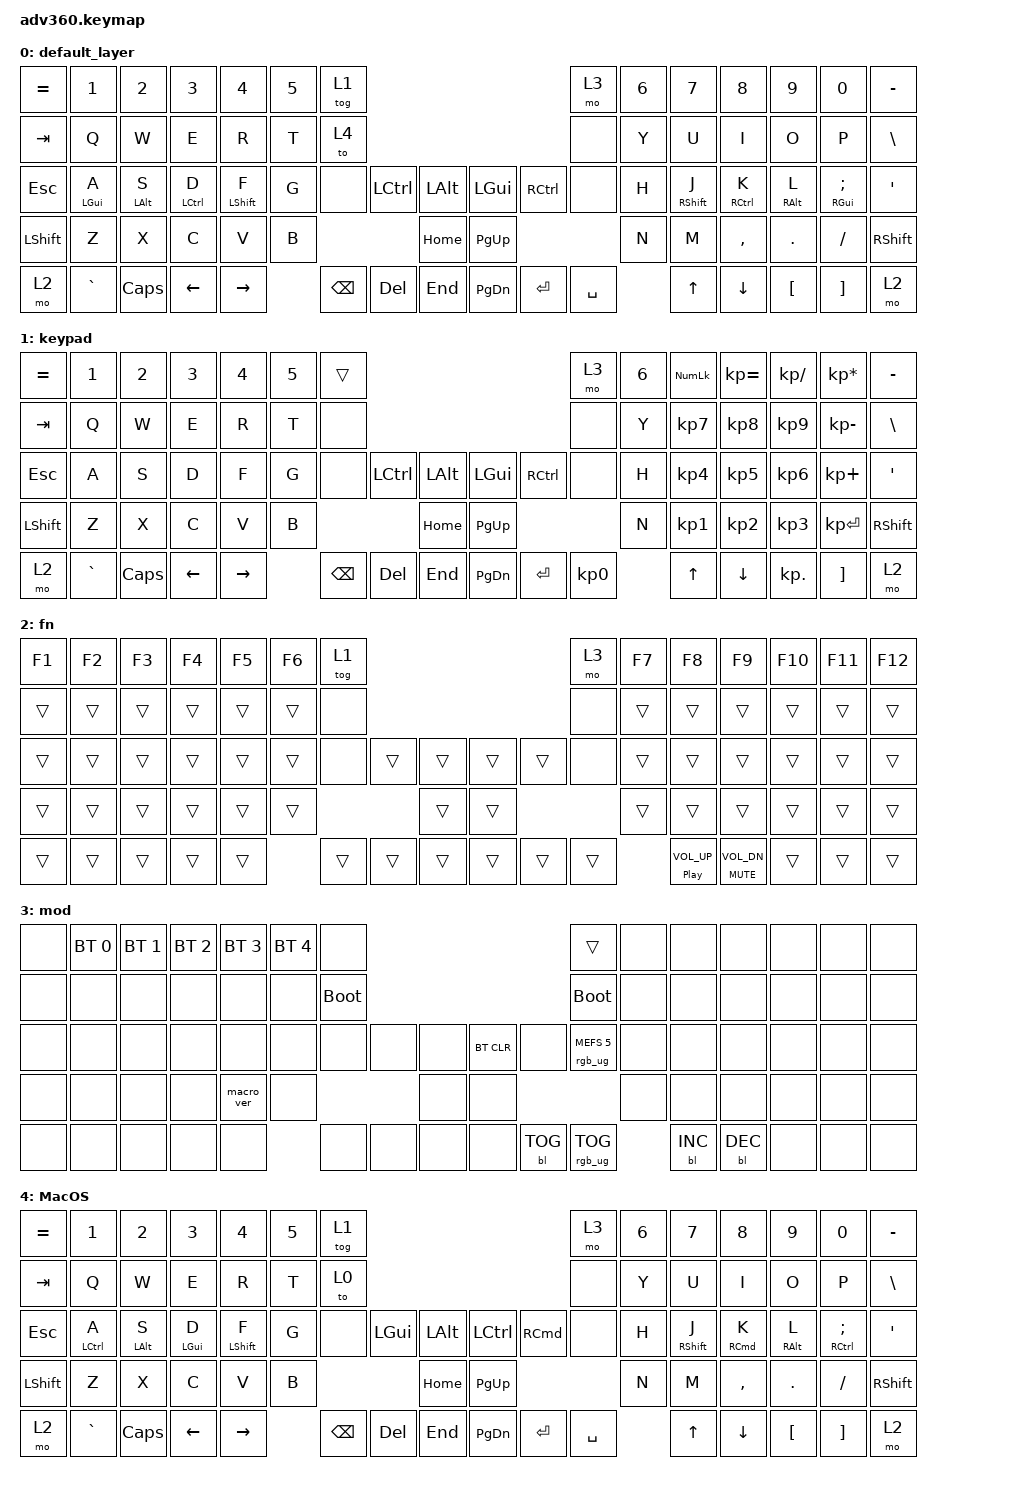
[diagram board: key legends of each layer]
#include <behaviors.dtsi>
#include <dt-bindings/zmk/backlight.h>
#include <dt-bindings/zmk/bt.h>
#include <dt-bindings/zmk/keys.h>
#include <dt-bindings/zmk/rgb.h>

/ {
    behaviors {
        #include "macros.dtsi"
      #include "version.dtsi"
      #ifndef VERSION_MACRO

        macro_ver: macro_ver {
            compatible = "zmk,behavior-macro";
            label = "macro_version";
            #binding-cells = <0>;
            bindings = <&kp RET>;
        };

        #endif

        hm: homerow_mods {
            compatible = "zmk,behavior-hold-tap";
            label = "HOMEROW_MODS";
            #binding-cells = <2>;
            tapping-term-ms = <200>;
            quick_tap_ms = <175>;
            flavor = "tap-unless-interrupted";
            bindings = <&kp>, <&kp>;
        };

        hm_right: hm_right {
            compatible = "zmk,behavior-hold-tap";
            label = "HM_RIGHT";
            #binding-cells = <2>;
            tapping-term-ms = <200>;
            flavor = "tap-preferred";
            bindings = <&kp>, <&kp>;

            hold-trigger-key-positions = <0 1 2 3 4 5 6 14 15 16 17 18 19 20 28 29 30 31 32 33 34 35 36 46 47 48 49 50 51 52 60 61 62 63 64 65 66 67>;
            quick-tap-ms = <200>;
            require-prior-idle-ms = <170>;
        };

        hm_left: hm_left {
            compatible = "zmk,behavior-hold-tap";
            label = "HM_LEFT";
            #binding-cells = <2>;
            tapping-term-ms = <200>;
            flavor = "tap-preferred";
            bindings = <&kp>, <&kp>;

            hold-trigger-key-positions = <7 8 9 10 11 12 13 21 22 23 24 25 26 27 37 38 39 40 41 42 43 44 45 53 54 55 56 57 58 59 68 69 70 71 72 73 74 75>;
            quick-tap-ms = <200>;
            require-prior-idle-ms = <170>;
        };
    };

    macros {
    };

    keymap {
        compatible = "zmk,keymap";

        default_layer {
            bindings = <
&kp EQUAL  &kp N1               &kp N2               &kp N3                   &kp N4                 &kp N5  &tog 1                                                   &mo 3      &kp N6  &kp N7                   &kp N8                     &kp N9                 &kp N0                         &kp MINUS
&kp TAB    &kp Q                &kp W                &kp E                    &kp R                  &kp T   &to 4                                                    &none      &kp Y   &kp U                    &kp I                      &kp O                  &kp P                          &kp BSLH
&kp ESC    &hm_left LEFT_GUI A  &hm_left LEFT_ALT S  &hm_left LEFT_CONTROL D  &hm_left LEFT_SHIFT F  &kp G   &none     &kp LCTRL  &kp LALT      &kp LGUI   &kp RCTRL  &none      &kp H   &hm_right RIGHT_SHIFT J  &hm_right RIGHT_CONTROL K  &hm_right RIGHT_ALT L  &hm_right RIGHT_GUI SEMICOLON  &kp SQT
&kp LSHFT  &kp Z                &kp X                &kp C                    &kp V                  &kp B                        &kp HOME      &kp PG_UP                        &kp N   &kp M                    &kp COMMA                  &kp DOT                &kp FSLH                       &kp RSHFT
&mo 2      &kp GRAVE            &kp CAPS             &kp LEFT                 &kp RIGHT                      &kp BSPC  &kp DEL    &kp END       &kp PG_DN  &kp ENTER  &kp SPACE          &kp UP                   &kp DOWN                   &kp LBKT               &kp RBKT                       &mo 2
            >;
        };

        keypad {
            bindings = <
&kp EQUAL  &kp N1     &kp N2    &kp N3    &kp N4     &kp N5  &trans                                                   &mo 3      &kp N6  &kp KP_NUM  &kp KP_EQUAL  &kp KP_DIVIDE  &kp KP_MULTIPLY  &kp MINUS
&kp TAB    &kp Q      &kp W     &kp E     &kp R      &kp T   &none                                                    &none      &kp Y   &kp KP_N7   &kp KP_N8     &kp KP_N9      &kp KP_MINUS     &kp BSLH
&kp ESC    &kp A      &kp S     &kp D     &kp F      &kp G   &none     &kp LCTRL  &kp LALT      &kp LGUI   &kp RCTRL  &none      &kp H   &kp KP_N4   &kp KP_N5     &kp KP_N6      &kp KP_PLUS      &kp SQT
&kp LSHFT  &kp Z      &kp X     &kp C     &kp V      &kp B                        &kp HOME      &kp PG_UP                        &kp N   &kp KP_N1   &kp KP_N2     &kp KP_N3      &kp KP_ENTER     &kp RSHFT
&mo 2      &kp GRAVE  &kp CAPS  &kp LEFT  &kp RIGHT          &kp BSPC  &kp DEL    &kp END       &kp PG_DN  &kp ENTER  &kp KP_N0          &kp UP      &kp DOWN      &kp KP_DOT     &kp RBKT         &mo 2
            >;
        };

        fn {
            bindings = <
&kp F1  &kp F2  &kp F3  &kp F4  &kp F5  &kp F6  &tog 1                                      &mo 3   &kp F7  &kp F8                     &kp F9               &kp F10  &kp F11  &kp F12
&trans  &trans  &trans  &trans  &trans  &trans  &none                                       &none   &trans  &trans                     &trans               &trans   &trans   &trans
&trans  &trans  &trans  &trans  &trans  &trans  &none   &trans  &trans      &trans  &trans  &none   &trans  &trans                     &trans               &trans   &trans   &trans
&trans  &trans  &trans  &trans  &trans  &trans                  &trans      &trans                  &trans  &trans                     &trans               &trans   &trans   &trans
&trans  &trans  &trans  &trans  &trans          &trans  &trans  &trans      &trans  &trans  &trans          &hm C_PLAY_PAUSE C_VOL_UP  &hm C_MUTE C_VOL_DN  &trans   &trans   &trans
            >;
        };

        mod {
            bindings = <
&none  &bt BT_SEL 0  &bt BT_SEL 1  &bt BT_SEL 2  &bt BT_SEL 3  &bt BT_SEL 4  &none                                                  &trans                  &none  &none       &none       &none  &none  &none
&none  &none         &none         &none         &none         &none         &bootloader                                            &bootloader             &none  &none       &none       &none  &none  &none
&none  &none         &none         &none         &none         &none         &none        &none  &none      &bt BT_CLR  &none       &rgb_ug RGB_MEFS_CMD 5  &none  &none       &none       &none  &none  &none
&none  &none         &none         &none         &macro_ver    &none                             &none      &none                                           &none  &none       &none       &none  &none  &none
&none  &none         &none         &none         &none                       &none        &none  &none      &none       &bl BL_TOG  &rgb_ug RGB_TOG                &bl BL_INC  &bl BL_DEC  &none  &none  &none
            >;
        };

        MacOS {
            bindings = <
&kp EQUAL  &kp N1            &kp N2               &kp N3           &kp N4                 &kp N5  &tog 1                                                  &mo 3      &kp N6  &kp N7                   &kp N8            &kp N9                 &kp N0                     &kp MINUS
&kp TAB    &kp Q             &kp W                &kp E            &kp R                  &kp T   &to 0                                                   &none      &kp Y   &kp U                    &kp I             &kp O                  &kp P                      &kp BSLH
&kp ESC    &hm_left LCTRL A  &hm_left LEFT_ALT S  &hm_left LGUI D  &hm_left LEFT_SHIFT F  &kp G   &none     &kp LGUI  &kp LALT      &kp LCTRL  &kp RCMD   &none      &kp H   &hm_right RIGHT_SHIFT J  &hm_right RCMD K  &hm_right RIGHT_ALT L  &hm_right RCTRL SEMICOLON  &kp SQT
&kp LSHFT  &kp Z             &kp X                &kp C            &kp V                  &kp B                       &kp HOME      &kp PG_UP                        &kp N   &kp M                    &kp COMMA         &kp DOT                &kp FSLH                   &kp RSHFT
&mo 2      &kp GRAVE         &kp CAPS             &kp LEFT         &kp RIGHT                      &kp BSPC  &kp DEL   &kp END       &kp PG_DN  &kp ENTER  &kp SPACE          &kp UP                   &kp DOWN          &kp LBKT               &kp RBKT                   &mo 2
            >;
        };
    };
};
